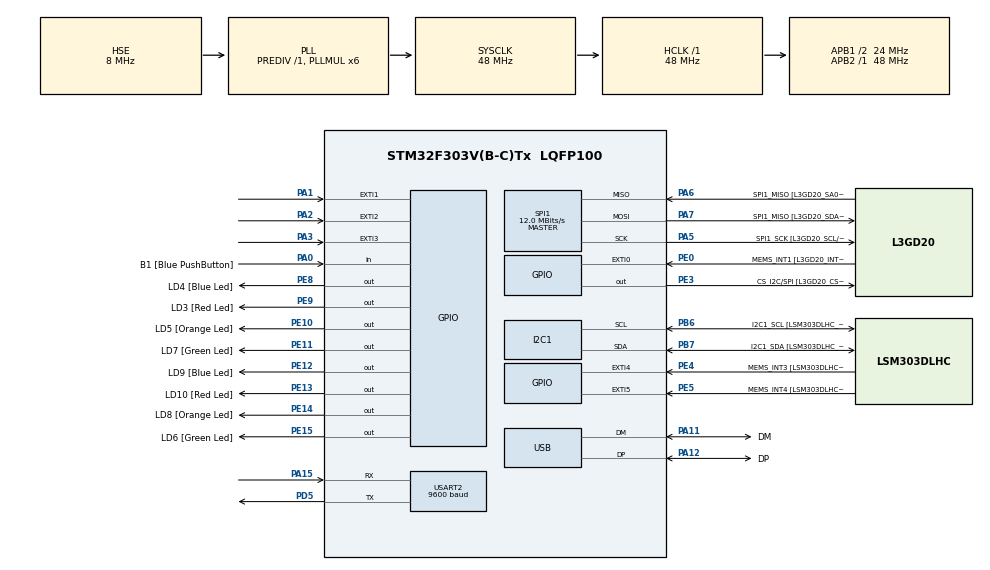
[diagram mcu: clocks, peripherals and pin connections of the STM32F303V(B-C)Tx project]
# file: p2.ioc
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I2C1.Timing=0x2000090E
I2C1.Timing-I2C=0x2000090E
Mcu.Family=STM32F3
Mcu.Name=STM32F303V(B-C)Tx
Mcu.Package=LQFP100
NVIC.EXTI1_IRQn=true\:0\:0\:false\:false\:true\:true\:true
NVIC.EXTI2_TSC_IRQn=true\:0\:0\:false\:false\:true\:true\:true
NVIC.EXTI3_IRQn=true\:0\:0\:false\:false\:true\:true\:true
NVIC.PriorityGroup=NVIC_PRIORITYGROUP_0
NVIC.TIM2_IRQn=true\:0\:0\:false\:false\:true\:true\:true
NVIC.TIM3_IRQn=true\:0\:0\:false\:false\:true\:true\:true
NVIC.TIM4_IRQn=true\:0\:0\:false\:false\:true\:true\:true
NVIC.USART2_IRQn=true\:0\:0\:false\:false\:true\:true\:true
PA0.GPIO_Label=B1 [Blue PushButton]
PA0.Signal=GPIO_Input
PA1.GPIO_PuPd=GPIO_PULLDOWN
PA1.Signal=GPXTI1
PA11.GPIO_Label=DM
PA11.Mode=Device
PA11.Signal=USB_DM
PA12.GPIO_Label=DP
PA12.Mode=Device
PA12.Signal=USB_DP
PA13.GPIO_Label=SWDIO
PA13.Mode=Serial_Wire
PA13.Signal=SYS_JTMS-SWDIO
PA14.GPIO_Label=SWCLK
PA14.Mode=Serial_Wire
PA14.Signal=SYS_JTCK-SWCLK
PA15.Mode=Asynchronous
PA15.Signal=USART2_RX
PA2.GPIO_PuPd=GPIO_PULLDOWN
PA2.Signal=GPXTI2
PA3.GPIO_PuPd=GPIO_PULLDOWN
PA3.Signal=GPXTI3
PA5.GPIO_Label=SPI1_SCK [L3GD20_SCL/SPC]
PA5.Mode=Full_Duplex_Master
PA5.Signal=SPI1_SCK
PA6.GPIO_Label=SPI1_MISO [L3GD20_SA0/SDO]
PA6.Mode=Full_Duplex_Master
PA6.Signal=SPI1_MISO
PA7.GPIO_Label=SPI1_MISO [L3GD20_SDA/SDI/SDO]
PA7.Mode=Full_Duplex_Master
PA7.Signal=SPI1_MOSI
PB3.GPIO_Label=SWO
PB3.Signal=SYS_JTDO-TRACESWO
PB6.GPIO_Label=I2C1_SCL [LSM303DLHC_SCL]
PB6.GPIO_Pu=GPIO_PULLUP
PB6.Mode=I2C
PB6.Signal=I2C1_SCL
PB7.GPIO_Label=I2C1_SDA [LSM303DLHC_SDA]
PB7.GPIO_Pu=GPIO_PULLUP
PB7.Mode=I2C
PB7.Signal=I2C1_SDA
PC14-OSC32_IN.GPIO_Label=OSC32_IN
PC14-OSC32_IN.Signal=RCC_OSC32_IN
PC15-OSC32_OUT.GPIO_Label=OSC32_OUT
PC15-OSC32_OUT.Signal=RCC_OSC32_OUT
PD5.Mode=Asynchronous
PD5.Signal=USART2_TX
PE0.GPIO_Label=MEMS_INT1 [L3GD20_INT1]
PE0.GPIO_ModeDefaultEXTI=GPIO_MODE_EVT_RISING
PE0.Signal=GPXTI0
PE10.GPIO_Label=LD5 [Orange Led]
PE10.Signal=GPIO_Output
PE11.GPIO_Label=LD7 [Green Led]
PE11.Signal=GPIO_Output
PE12.GPIO_Label=LD9 [Blue Led]
PE12.Signal=GPIO_Output
PE13.GPIO_Label=LD10 [Red Led]
PE13.Signal=GPIO_Output
PE14.GPIO_Label=LD8 [Orange Led]
PE14.Signal=GPIO_Output
PE15.GPIO_Label=LD6 [Green Led]
PE15.Signal=GPIO_Output
PE3.GPIO_Label=CS_I2C/SPI [L3GD20_CS_I2C/SPI]
PE3.Signal=GPIO_Output
PE4.GPIO_Label=MEMS_INT3 [LSM303DLHC_INT1]
PE4.GPIO_ModeDefaultEXTI=GPIO_MODE_EVT_RISING
PE4.Signal=GPXTI4
PE5.GPIO_Label=MEMS_INT4 [LSM303DLHC_INT2]
PE5.GPIO_ModeDefaultEXTI=GPIO_MODE_EVT_RISING
PE5.Signal=GPXTI5
PE8.GPIO_Label=LD4 [Blue Led]
PE8.Signal=GPIO_Output
PE9.GPIO_Label=LD3 [Red Led]
PE9.Signal=GPIO_Output
PF0-OSC_IN.GPIO_Label=OSC_IN
PF0-OSC_IN.Mode=HSE-External-Clock-Source
PF0-OSC_IN.Signal=RCC_OSC_IN
PF1-OSC_OUT.GPIO_Label=OSC_OUT
PF1-OSC_OUT.Signal=RCC_OSC_OUT
ProjectManager.HeapSize=0x200
ProjectManager.StackSize=0x400
ProjectManager.TargetToolchain=STM32CubeIDE
RCC.AHBFreq_Value=48000000
RCC.APB1CLKDivider=RCC_HCLK_DIV2
RCC.APB1Freq_Value=24000000
RCC.APB1TimFreq_Value=48000000
RCC.APB2Freq_Value=48000000
RCC.APB2TimFreq_Value=48000000
RCC.CortexFreq_Value=48000000
RCC.HCLKFreq_Value=48000000
RCC.HSE_VALUE=8000000
RCC.HSI_VALUE=8000000
RCC.LSE_VALUE=32768
RCC.PLLMUL=RCC_PLL_MUL6
RCC.SYSCLKFreq_VALUE=48000000
RCC.SYSCLKSourceVirtual=RCC_SYSCLKSOURCE_PLLCLK
RCC.USBFreq_Value=48000000
SPI1.BaudRatePrescaler=SPI_BAUDRATEPRESCALER_4
SPI1.BaudRatePrescaler-Full_Duplex_Master=SPI_BAUDRATEPRESCALER_2
SPI1.CalculateBaudRate=12.0 MBits/s
SPI1.CalculateBaudRate-Full_Duplex_Master=24.0 MBits/s
SPI1.Direction=SPI_DIRECTION_2LINES
SPI1.Mode=SPI_MODE_MASTER
SPI1.Mode-Full_Duplex_Master=SPI_MODE_MASTER
SPI1.VirtualType=VM_MASTER
TIM2.Period=9999
TIM2.Prescaler=4799
TIM3.Period=9
TIM3.Prescaler=47
TIM4.Period=9999
TIM4.Prescaler=4799
USART2.BaudRate=9600
USART2.VirtualMode-Asynchronous=VM_ASYNC
VP_TIM2_VS_ClockSourceINT.Mode=Internal
VP_TIM3_VS_ClockSourceINT.Mode=Internal
VP_TIM4_VS_ClockSourceINT.Mode=Internal
board=STM32F3DISCOVERY

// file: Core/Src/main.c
/* USER CODE BEGIN Header */
/**
  ******************************************************************************
  * @file           : main.c
  * @brief          : Main program body
  ******************************************************************************
  * @attention
  *
  * <h2><center>&copy; Copyright (c) 2022 STMicroelectronics.
  * All rights reserved.</center></h2>
  *
  * This software component is licensed by ST under BSD 3-Clause license,
  * the "License"; You may not use this file except in compliance with the
  * License. You may obtain a copy of the License at:
  *                        opensource.org/licenses/BSD-3-Clause
  *
  ******************************************************************************
  */
/* USER CODE END Header */
#include "main.h"

I2C_HandleTypeDef hi2c1;

SPI_HandleTypeDef hspi1;

TIM_HandleTypeDef htim2;
TIM_HandleTypeDef htim3;
TIM_HandleTypeDef htim4;

UART_HandleTypeDef huart2;

PCD_HandleTypeDef hpcd_USB_FS;

void SystemClock_Config(void);
static void MX_GPIO_Init(void);
static void MX_I2C1_Init(void);
static void MX_SPI1_Init(void);
static void MX_USB_PCD_Init(void);
static void MX_TIM2_Init(void);
static void MX_TIM3_Init(void);
static void MX_USART2_UART_Init(void);
static void MX_TIM4_Init(void);

/* USER CODE BEGIN 0 */

void initForButtons() {

	__HAL_RCC_GPIOA_CLK_ENABLE();
	GPIO_InitTypeDef temp1;
	temp1.Pin = GPIO_PIN_1 | GPIO_PIN_2 | GPIO_PIN_3;
	temp1.Mode = GPIO_MODE_INPUT;
	temp1.Speed = GPIO_SPEED_FREQ_HIGH;
	temp1.Pull = GPIO_PULLDOWN;
	HAL_GPIO_Init(GPIOA, &temp1);
}

void initForSevenSeg() {

	__HAL_RCC_GPIOC_CLK_ENABLE();
	GPIO_InitTypeDef temp;
	temp.Pin = GPIO_PIN_0 | GPIO_PIN_1 | GPIO_PIN_2 | GPIO_PIN_3 | GPIO_PIN_4 | GPIO_PIN_5 | GPIO_PIN_6 | GPIO_PIN_7 | GPIO_PIN_8 ;
	temp.Mode = GPIO_MODE_OUTPUT_PP;
	temp.Speed = GPIO_SPEED_FREQ_HIGH;
	HAL_GPIO_Init(GPIOC, &temp);
}

void numberToBCD0(int number)
{
	int x1 = number&1;
	int x2 = number&2;
	int x3 = number&4;
	int x4 = number&8;

	if (x1 > 0) x1 = 1;
	if (x2 > 0) x2 = 1;
	if (x3 > 0) x3 = 1;
	if (x4 > 0) x4 = 1;

	HAL_GPIO_WritePin(GPIOC, GPIO_PIN_0, x1);
	HAL_GPIO_WritePin(GPIOC, GPIO_PIN_1, x2);
	HAL_GPIO_WritePin(GPIOC, GPIO_PIN_2, x3);
	HAL_GPIO_WritePin(GPIOC, GPIO_PIN_3, x4);

}

int x = 0;
void show(int num1, int num2, int rnum) {

	x++;
	if( x == 100 ) {
		HAL_GPIO_WritePin(GPIOC, GPIO_PIN_4 | GPIO_PIN_6 | GPIO_PIN_7, 1);
		HAL_GPIO_WritePin(GPIOC, GPIO_PIN_7 | GPIO_PIN_8, 0);
		numberToBCD0( (rnum / 1) % 10 );
	}
//	HAL_Delay(1);

	if ( x == 200 ) {
		HAL_GPIO_WritePin(GPIOC, GPIO_PIN_5 | GPIO_PIN_6 | GPIO_PIN_7, 1);
		HAL_GPIO_WritePin(GPIOC, GPIO_PIN_6 | GPIO_PIN_8, 0);
		numberToBCD0( (rnum / 10) % 10 );
	}
//	HAL_Delay(1);

	if ( x == 300 ) {
		HAL_GPIO_WritePin(GPIOC, GPIO_PIN_4 | GPIO_PIN_5 | GPIO_PIN_6, 1);
		HAL_GPIO_WritePin(GPIOC, GPIO_PIN_5 | GPIO_PIN_8, 0);
		numberToBCD0( (num2 / 100) % 10 );
	}
//	HAL_Delay(1);

	if ( x == 400 ) {
		HAL_GPIO_WritePin(GPIOC, GPIO_PIN_4 | GPIO_PIN_5 | GPIO_PIN_7, 1);
		HAL_GPIO_WritePin(GPIOC, GPIO_PIN_4 | GPIO_PIN_8, 0);
		numberToBCD0( (num1 / 1000) % 10 );
		x=0;
	}
//	HAL_Delay(1);

}

int num1 = 0;
int num2 = 0;
int rnum = 0;
int rnum2 = 0;
int z1 = 0;
int z2 = 0;
void countNum1(){
	num1 = num1 + 11000 ;
	z1 = (num1 / 1000) % 10;
}
void countNum2(){
	num2 = num2 + 10100 ;
	z2 = (num2 / 100) % 10;
}
void countRnum(){
	rnum = rnum + (101 * z1) ;
}

void countRnum2(){
	rnum2 = rnum2 +  z2 ;
}

int getNum1() {
	return num1;
}
int getNum2() {
	return num2;
}
int getRnum() {
	return rnum;
}
int getRnum2() {
	return rnum2;
}

/* USER CODE END 0 */

int main(void)
{

  /* MCU Configuration--------------------------------------------------------*/

  /* Reset of all peripherals, Initializes the Flash interface and the Systick. */
  HAL_Init();

  /* Configure the system clock */
  SystemClock_Config();

  /* Initialize all configured peripherals */
  MX_GPIO_Init();
  MX_I2C1_Init();
  MX_SPI1_Init();
  MX_USB_PCD_Init();
  MX_TIM2_Init();
  MX_TIM3_Init();
  MX_USART2_UART_Init();
  MX_TIM4_Init();
  /* USER CODE BEGIN 2 */

  HAL_Init();
  initForButtons();
  initForSevenSeg();

  HAL_TIM_Base_Start_IT(&htim3);

  /* USER CODE END 2 */

  /* Infinite loop */
  while (1)
  {

  }
}

void SystemClock_Config(void)
{
  RCC_OscInitTypeDef RCC_OscInitStruct = {0};
  RCC_ClkInitTypeDef RCC_ClkInitStruct = {0};
  RCC_PeriphCLKInitTypeDef PeriphClkInit = {0};

  /** Initializes the RCC Oscillators according to the specified parameters
  * in the RCC_OscInitTypeDef structure.
  */
  RCC_OscInitStruct.OscillatorType = RCC_OSCILLATORTYPE_HSI|RCC_OSCILLATORTYPE_HSE;
  RCC_OscInitStruct.HSEState = RCC_HSE_BYPASS;
  RCC_OscInitStruct.HSEPredivValue = RCC_HSE_PREDIV_DIV1;
  RCC_OscInitStruct.HSIState = RCC_HSI_ON;
  RCC_OscInitStruct.HSICalibrationValue = RCC_HSICALIBRATION_DEFAULT;
  RCC_OscInitStruct.PLL.PLLState = RCC_PLL_ON;
  RCC_OscInitStruct.PLL.PLLSource = RCC_PLLSOURCE_HSE;
  RCC_OscInitStruct.PLL.PLLMUL = RCC_PLL_MUL6;
  if (HAL_RCC_OscConfig(&RCC_OscInitStruct) != HAL_OK)
  {
    Error_Handler();
  }
  /** Initializes the CPU, AHB and APB buses clocks
  */
  RCC_ClkInitStruct.ClockType = RCC_CLOCKTYPE_HCLK|RCC_CLOCKTYPE_SYSCLK
                              |RCC_CLOCKTYPE_PCLK1|RCC_CLOCKTYPE_PCLK2;
  RCC_ClkInitStruct.SYSCLKSource = RCC_SYSCLKSOURCE_PLLCLK;
  RCC_ClkInitStruct.AHBCLKDivider = RCC_SYSCLK_DIV1;
  RCC_ClkInitStruct.APB1CLKDivider = RCC_HCLK_DIV2;
  RCC_ClkInitStruct.APB2CLKDivider = RCC_HCLK_DIV1;

  if (HAL_RCC_ClockConfig(&RCC_ClkInitStruct, FLASH_LATENCY_1) != HAL_OK)
  {
    Error_Handler();
  }
  PeriphClkInit.PeriphClockSelection = RCC_PERIPHCLK_USB|RCC_PERIPHCLK_USART2
                              |RCC_PERIPHCLK_I2C1;
  PeriphClkInit.Usart2ClockSelection = RCC_USART2CLKSOURCE_PCLK1;
  PeriphClkInit.I2c1ClockSelection = RCC_I2C1CLKSOURCE_HSI;
  PeriphClkInit.USBClockSelection = RCC_USBCLKSOURCE_PLL;
  if (HAL_RCCEx_PeriphCLKConfig(&PeriphClkInit) != HAL_OK)
  {
    Error_Handler();
  }
}

static void MX_I2C1_Init(void)
{

  hi2c1.Instance = I2C1;
  hi2c1.Init.Timing = 0x2000090E;
  hi2c1.Init.OwnAddress1 = 0;
  hi2c1.Init.AddressingMode = I2C_ADDRESSINGMODE_7BIT;
  hi2c1.Init.DualAddressMode = I2C_DUALADDRESS_DISABLE;
  hi2c1.Init.OwnAddress2 = 0;
  hi2c1.Init.OwnAddress2Masks = I2C_OA2_NOMASK;
  hi2c1.Init.GeneralCallMode = I2C_GENERALCALL_DISABLE;
  hi2c1.Init.NoStretchMode = I2C_NOSTRETCH_DISABLE;
  if (HAL_I2C_Init(&hi2c1) != HAL_OK)
  {
    Error_Handler();
  }
  /** Configure Analogue filter
  */
  if (HAL_I2CEx_ConfigAnalogFilter(&hi2c1, I2C_ANALOGFILTER_ENABLE) != HAL_OK)
  {
    Error_Handler();
  }
  /** Configure Digital filter
  */
  if (HAL_I2CEx_ConfigDigitalFilter(&hi2c1, 0) != HAL_OK)
  {
    Error_Handler();
  }

}

static void MX_SPI1_Init(void)
{

  /* SPI1 parameter configuration*/
  hspi1.Instance = SPI1;
  hspi1.Init.Mode = SPI_MODE_MASTER;
  hspi1.Init.Direction = SPI_DIRECTION_2LINES;
  hspi1.Init.DataSize = SPI_DATASIZE_4BIT;
  hspi1.Init.CLKPolarity = SPI_POLARITY_LOW;
  hspi1.Init.CLKPhase = SPI_PHASE_1EDGE;
  hspi1.Init.NSS = SPI_NSS_SOFT;
  hspi1.Init.BaudRatePrescaler = SPI_BAUDRATEPRESCALER_4;
  hspi1.Init.FirstBit = SPI_FIRSTBIT_MSB;
  hspi1.Init.TIMode = SPI_TIMODE_DISABLE;
  hspi1.Init.CRCCalculation = SPI_CRCCALCULATION_DISABLE;
  hspi1.Init.CRCPolynomial = 7;
  hspi1.Init.CRCLength = SPI_CRC_LENGTH_DATASIZE;
  hspi1.Init.NSSPMode = SPI_NSS_PULSE_ENABLE;
  if (HAL_SPI_Init(&hspi1) != HAL_OK)
  {
    Error_Handler();
  }

}

static void MX_TIM2_Init(void)
{

  TIM_ClockConfigTypeDef sClockSourceConfig = {0};
  TIM_MasterConfigTypeDef sMasterConfig = {0};

  htim2.Instance = TIM2;
  htim2.Init.Prescaler = 4799;
  htim2.Init.CounterMode = TIM_COUNTERMODE_UP;
  htim2.Init.Period = 9999;
  htim2.Init.ClockDivision = TIM_CLOCKDIVISION_DIV1;
  htim2.Init.AutoReloadPreload = TIM_AUTORELOAD_PRELOAD_DISABLE;
  if (HAL_TIM_Base_Init(&htim2) != HAL_OK)
  {
    Error_Handler();
  }
  sClockSourceConfig.ClockSource = TIM_CLOCKSOURCE_INTERNAL;
  if (HAL_TIM_ConfigClockSource(&htim2, &sClockSourceConfig) != HAL_OK)
  {
    Error_Handler();
  }
  sMasterConfig.MasterOutputTrigger = TIM_TRGO_RESET;
  sMasterConfig.MasterSlaveMode = TIM_MASTERSLAVEMODE_DISABLE;
  if (HAL_TIMEx_MasterConfigSynchronization(&htim2, &sMasterConfig) != HAL_OK)
  {
    Error_Handler();
  }

}

static void MX_TIM3_Init(void)
{

  TIM_ClockConfigTypeDef sClockSourceConfig = {0};
  TIM_MasterConfigTypeDef sMasterConfig = {0};

  htim3.Instance = TIM3;
  htim3.Init.Prescaler = 47;
  htim3.Init.CounterMode = TIM_COUNTERMODE_UP;
  htim3.Init.Period = 9;
  htim3.Init.ClockDivision = TIM_CLOCKDIVISION_DIV1;
  htim3.Init.AutoReloadPreload = TIM_AUTORELOAD_PRELOAD_DISABLE;
  if (HAL_TIM_Base_Init(&htim3) != HAL_OK)
  {
    Error_Handler();
  }
  sClockSourceConfig.ClockSource = TIM_CLOCKSOURCE_INTERNAL;
  if (HAL_TIM_ConfigClockSource(&htim3, &sClockSourceConfig) != HAL_OK)
  {
    Error_Handler();
  }
  sMasterConfig.MasterOutputTrigger = TIM_TRGO_RESET;
  sMasterConfig.MasterSlaveMode = TIM_MASTERSLAVEMODE_DISABLE;
  if (HAL_TIMEx_MasterConfigSynchronization(&htim3, &sMasterConfig) != HAL_OK)
  {
    Error_Handler();
  }

}

static void MX_TIM4_Init(void)
{

  TIM_ClockConfigTypeDef sClockSourceConfig = {0};
  TIM_MasterConfigTypeDef sMasterConfig = {0};

  htim4.Instance = TIM4;
  htim4.Init.Prescaler = 4799;
  htim4.Init.CounterMode = TIM_COUNTERMODE_UP;
  htim4.Init.Period = 9999;
  htim4.Init.ClockDivision = TIM_CLOCKDIVISION_DIV1;
  htim4.Init.AutoReloadPreload = TIM_AUTORELOAD_PRELOAD_DISABLE;
  if (HAL_TIM_Base_Init(&htim4) != HAL_OK)
  {
    Error_Handler();
  }
  sClockSourceConfig.ClockSource = TIM_CLOCKSOURCE_INTERNAL;
  if (HAL_TIM_ConfigClockSource(&htim4, &sClockSourceConfig) != HAL_OK)
  {
    Error_Handler();
  }
  sMasterConfig.MasterOutputTrigger = TIM_TRGO_RESET;
  sMasterConfig.MasterSlaveMode = TIM_MASTERSLAVEMODE_DISABLE;
  if (HAL_TIMEx_MasterConfigSynchronization(&htim4, &sMasterConfig) != HAL_OK)
  {
    Error_Handler();
  }

}

static void MX_USART2_UART_Init(void)
{

  huart2.Instance = USART2;
  huart2.Init.BaudRate = 9600;
  huart2.Init.WordLength = UART_WORDLENGTH_8B;
  huart2.Init.StopBits = UART_STOPBITS_1;
  huart2.Init.Parity = UART_PARITY_NONE;
  huart2.Init.Mode = UART_MODE_TX_RX;
  huart2.Init.HwFlowCtl = UART_HWCONTROL_NONE;
  huart2.Init.OverSampling = UART_OVERSAMPLING_16;
  huart2.Init.OneBitSampling = UART_ONE_BIT_SAMPLE_DISABLE;
  huart2.AdvancedInit.AdvFeatureInit = UART_ADVFEATURE_NO_INIT;
  if (HAL_UART_Init(&huart2) != HAL_OK)
  {
    Error_Handler();
  }

}

static void MX_USB_PCD_Init(void)
{

  hpcd_USB_FS.Instance = USB;
  hpcd_USB_FS.Init.dev_endpoints = 8;
  hpcd_USB_FS.Init.speed = PCD_SPEED_FULL;
  hpcd_USB_FS.Init.phy_itface = PCD_PHY_EMBEDDED;
  hpcd_USB_FS.Init.low_power_enable = DISABLE;
  hpcd_USB_FS.Init.battery_charging_enable = DISABLE;
  if (HAL_PCD_Init(&hpcd_USB_FS) != HAL_OK)
  {
    Error_Handler();
  }

}

static void MX_GPIO_Init(void)
{
  GPIO_InitTypeDef GPIO_InitStruct = {0};

  /* GPIO Ports Clock Enable */
  __HAL_RCC_GPIOE_CLK_ENABLE();
  __HAL_RCC_GPIOC_CLK_ENABLE();
  __HAL_RCC_GPIOF_CLK_ENABLE();
  __HAL_RCC_GPIOA_CLK_ENABLE();
  __HAL_RCC_GPIOD_CLK_ENABLE();
  __HAL_RCC_GPIOB_CLK_ENABLE();

  /*Configure GPIO pin Output Level */
  HAL_GPIO_WritePin(GPIOE, CS_I2C_SPI_Pin|LD4_Pin|LD3_Pin|LD5_Pin
                          |LD7_Pin|LD9_Pin|LD10_Pin|LD8_Pin
                          |LD6_Pin, GPIO_PIN_RESET);

  /*Configure GPIO pins : CS_I2C_SPI_Pin LD4_Pin LD3_Pin LD5_Pin
                           LD7_Pin LD9_Pin LD10_Pin LD8_Pin
                           LD6_Pin */
  GPIO_InitStruct.Pin = CS_I2C_SPI_Pin|LD4_Pin|LD3_Pin|LD5_Pin
                          |LD7_Pin|LD9_Pin|LD10_Pin|LD8_Pin
                          |LD6_Pin;
  GPIO_InitStruct.Mode = GPIO_MODE_OUTPUT_PP;
  GPIO_InitStruct.Pull = GPIO_NOPULL;
  GPIO_InitStruct.Speed = GPIO_SPEED_FREQ_LOW;
  HAL_GPIO_Init(GPIOE, &GPIO_InitStruct);

  /*Configure GPIO pins : MEMS_INT3_Pin MEMS_INT4_Pin MEMS_INT1_Pin */
  GPIO_InitStruct.Pin = MEMS_INT3_Pin|MEMS_INT4_Pin|MEMS_INT1_Pin;
  GPIO_InitStruct.Mode = GPIO_MODE_EVT_RISING;
  GPIO_InitStruct.Pull = GPIO_NOPULL;
  HAL_GPIO_Init(GPIOE, &GPIO_InitStruct);

  /*Configure GPIO pin : B1_Pin */
  GPIO_InitStruct.Pin = B1_Pin;
  GPIO_InitStruct.Mode = GPIO_MODE_INPUT;
  GPIO_InitStruct.Pull = GPIO_NOPULL;
  HAL_GPIO_Init(B1_GPIO_Port, &GPIO_InitStruct);

  /*Configure GPIO pins : PA1 PA2 PA3 */
  GPIO_InitStruct.Pin = GPIO_PIN_1|GPIO_PIN_2|GPIO_PIN_3;
  GPIO_InitStruct.Mode = GPIO_MODE_IT_RISING;
  GPIO_InitStruct.Pull = GPIO_PULLDOWN;
  HAL_GPIO_Init(GPIOA, &GPIO_InitStruct);

  /* EXTI interrupt init*/
  HAL_NVIC_SetPriority(EXTI1_IRQn, 0, 0);
  HAL_NVIC_EnableIRQ(EXTI1_IRQn);

  HAL_NVIC_SetPriority(EXTI2_TSC_IRQn, 0, 0);
  HAL_NVIC_EnableIRQ(EXTI2_TSC_IRQn);

  HAL_NVIC_SetPriority(EXTI3_IRQn, 0, 0);
  HAL_NVIC_EnableIRQ(EXTI3_IRQn);

}

void Error_Handler(void)
{
  __disable_irq();
  while (1)
  {
  }
}

/************************ (C) COPYRIGHT STMicroelectronics *****END OF FILE****/
